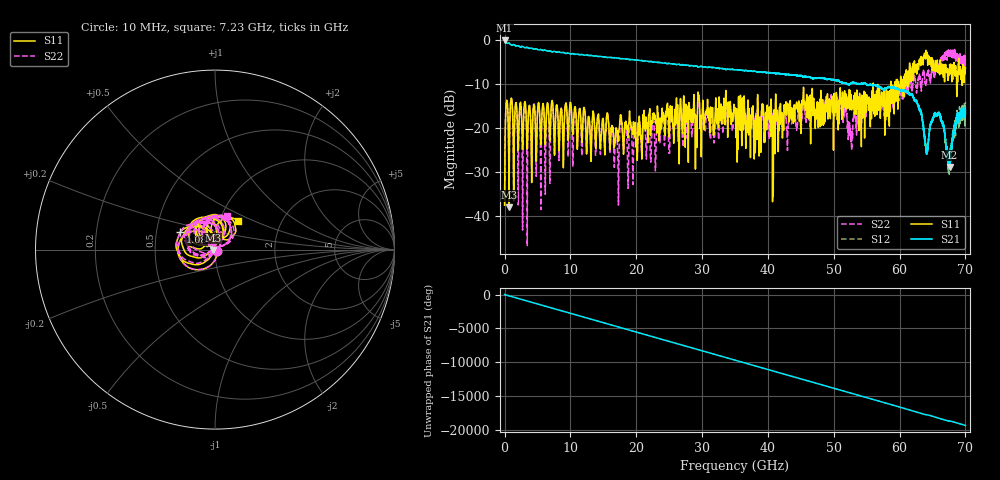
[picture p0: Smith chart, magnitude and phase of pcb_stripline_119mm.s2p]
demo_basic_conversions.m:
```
%% demo_basic_conversions.m  -- Parameter conversion demo for octave-rf
%%
%% Demonstrates S-parameter conversions on a real PCB stripline measurement.
%% Run from the octave-rf/examples/ directory:
%%
%%   cd octave-rf/examples
%%   octave-cli --no-gui -q demo_basic_conversions.m
%%
%% Requires: octave-rf package (inst/ directory on path) + fromtouchn.m
%%
%% Reference: Pupalaikis, P.J., "S-Parameters for Signal Integrity",
%%            Cambridge University Press, 2020. Chapters 3-4.

%% --- Setup paths -----------------------------------------------------------
this_dir = fileparts (mfilename ('fullpath'));
addpath (fullfile (this_dir, '..', 'inst'));   %% octave-rf functions
addpath (this_dir);                            %% fromtouchn.m

%% Suppress Octave compatibility warnings from legacy code in fromtouchn.m
warning ('off', 'all');

%% --- Load 2-port S-parameters ---------------------------------------------
printf ('Loading pcb_stripline_119mm.s2p (7000 frequency points, DC-35 GHz)...\n');
[freq, S, npts] = fromtouchn (fullfile (this_dir, 'pcb_stripline_119mm.s2p'));
printf ('  Loaded %d frequency points, %d-port\n', npts, size(S,1));

%% Wrap in sparameters object (optional — adds metadata)
z0 = 50;
s50 = sparameters (S, freq, z0);
printf ('  sparameters object: %d-port, Z0 = %g Ohm\n\n', size(s50.Parameters,1), z0);

%% --- T-matrix (wave-cascade matrix) ----------------------------------------
printf ('--- T-matrix (s2t / t2s) ---\n');
T = s2t (S);
S_rt = t2s (T);
err = max (abs (S_rt(:) - S(:)));
printf ('  Round-trip S -> T -> S:  max|diff| = %.2e\n\n', err);

%% --- Impedance parameters (Z) ----------------------------------------------
printf ('--- Z-parameters (s2z / z2s) ---\n');
Z = s2z (S);
printf ('  Z11 at 1 GHz:  %.3f + %.3fj Ohm\n', real(Z(1,1,100)), imag(Z(1,1,100)));
S_rt = z2s (Z);
err = max (abs (S_rt(:) - S(:)));
printf ('  Round-trip S -> Z -> S:  max|diff| = %.2e\n\n', err);

%% --- Admittance parameters (Y) ---------------------------------------------
printf ('--- Y-parameters (s2y / y2s) ---\n');
Y = s2y (S);
printf ('  Y11 at 1 GHz:  %.6f + %.6fj S\n', real(Y(1,1,100)), imag(Y(1,1,100)));
S_rt = y2s (Y);
err = max (abs (S_rt(:) - S(:)));
printf ('  Round-trip S -> Y -> S:  max|diff| = %.2e\n\n', err);

%% --- ABCD parameters -------------------------------------------------------
printf ('--- ABCD-parameters (s2abcd / abcd2s) ---\n');
A = s2abcd (S);
printf ('  A11 at 1 GHz:  %.6f + %.6fj\n', real(A(1,1,100)), imag(A(1,1,100)));
S_rt = abcd2s (A);
err = max (abs (S_rt(:) - S(:)));
printf ('  Round-trip S -> ABCD -> S:  max|diff| = %.2e\n\n', err);

%% --- H-parameters (hybrid) -------------------------------------------------
printf ('--- H-parameters (s2h / h2s) ---\n');
H = s2h (S);
S_rt = h2s (H);
err = max (abs (S_rt(:) - S(:)));
printf ('  Round-trip S -> H -> S:  max|diff| = %.2e\n\n', err);

%% --- G-parameters (inverse hybrid) ----------------------------------------
printf ('--- G-parameters (s2g / g2s) ---\n');
G = s2g (S);
S_rt = g2s (G);
err = max (abs (S_rt(:) - S(:)));
printf ('  Round-trip S -> G -> S:  max|diff| = %.2e\n', err);
printf ('  Note: G = inv(H); near resonances H is ill-conditioned,\n');
printf ('        so G vs reference may reach ~1e-10 -- this is expected.\n\n');

%% --- Renormalization -------------------------------------------------------
printf ('--- Renormalization (renormsparams) ---\n');
S75  = renormsparams (S, 75, 50);      %% renormalize to 75 Ohm
S_rt = renormsparams (S75, 50, 75);   %% back to 50 Ohm
err = max (abs (S_rt(:) - S(:)));
printf ('  50->75->50 Ohm round-trip:  max|diff| = %.2e\n', err);
printf ('  |S21| at 1 GHz:  50 Ohm = %.4f,  75 Ohm = %.4f\n\n', ...
        abs(S(2,1,100)), abs(S75(2,1,100)));

%% Also demonstrate sparameters Form 3 (renormalize via object)
s75 = sparameters (s50, 75);
printf ('  sparameters Form 3:  Z0 = 75 Ohm,  |S21| at 1 GHz = %.4f\n\n', ...
        abs(s75.Parameters(2,1,100)));

%% --- Port reordering -------------------------------------------------------
printf ('--- Port reordering (snp2smp) ---\n');
S_swapped  = snp2smp (S, [2 1]);   %% swap port 1 and port 2
S_restored = snp2smp (S_swapped, [2 1]);
err = max (abs (S_restored(:) - S(:)));
printf ('  Swap [2,1] then swap back:  max|diff| = %.2e  (pure permutation -- exact)\n\n', err);

printf ('Demo complete. All conversions demonstrated on real PCB data.\n');
printf ('Reference: Pupalaikis 2020, Chapters 3-4; Hall & Heck 2009, Chapters 3-4.\n');
```
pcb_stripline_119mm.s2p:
! 8/9/2025 3:00:00 PM
! This is a measured stripline on PCB, 119mm in length. Structure: VNA->COAX->stripline->COAX->VNA
! CHANNEL.1
! TR.MEASUREMENT
! CORRECTED.DATA
! RF.CORRECTION: FULL.FOUR.PORT.CAL.PORT.1.2.3.4
! AVERAGING.OFF
! IF.BANDWIDTH: 1KHZ
! SWEEPTYPE:  FREQ.SWEEP(Linear)
! Reference Plane Port Info
! PORT:  PORT1  PORT2
! DISTANCE:  0  m  0  m
! TIME:  0  s  0  s
! PHASE.OFFSET:  0  deg.  0  deg.
! LOSS:  0  dB  0  dB
! REF.LOSS:  0  dB  0  dB
! REF.FREQ:  0  Hz  0  Hz
! Power Info
! POWER:  -10  dBm  -10  dBm
! EFF.POWER:  -10  dBm  -10  dBm
! SOURCE.ATTEN:  0  dB  0  dB
! TEST.ATTEN:  0  dB  0  dB
! PORTZ: Port1:50 Port2:50
# GHZ S RI R 50
! FREQ.GHZ  S11RE  S11IM  S21RE  S21IM  S12RE  S12IM  S22RE  S22IM
!; PortSelection: Port_12 (1-->1,2-->2)
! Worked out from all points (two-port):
!   7000 points, 10 MHz to 70 GHz, reference 50 ohm
!   highest |S21| = -0.11 dB at 10 MHz (marker M1); lowest = -28.8 dB at 67.6 GHz (marker M2)
!   |S21| within 3 dB of the highest: start of sweep to 9.89 GHz; 10.23 GHz to 10.43 GHz (207.6 MHz wide, 2.01 % of centre)
!   lowest |S11| = -38.0 dB at 680 MHz (marker M3), VSWR 1.03, Z = 48.8 - j0.21 ohm
!   |S11| at or under -10 dB: start of sweep to 55.97 GHz; 56 GHz to 58.66 GHz (2.66 GHz wide, 4.64 % of centre); 58.7 GHz to 59.26 GHz (559.6 MHz wide, 0.949 % of centre)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
!   |S22| runs from -46.8 to -2.2 dB; largest |S21 - S12| = 0.078
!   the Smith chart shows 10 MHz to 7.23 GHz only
!   S11 on the Smith chart (normalised r, x): 10 MHz: 1.02, -0.01; 1.08 GHz: 0.67, +0.14; 7.23 GHz: 1.23, +0.41
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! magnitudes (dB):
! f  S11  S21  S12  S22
! 10 MHz  -37.5  -0.1  -0.1  -35.8
! 680 MHz  -38.0  -0.7  -0.7  -37.2
! 1.08 GHz  -13.3  -1.2  -1.2  -13.4
! 7.23 GHz  -13.8  -2.7  -2.7  -14.0
! 35.01 GHz  -16.4  -6.8  -6.8  -15.5
! 52.53 GHz  -12.3  -9.9  -10.0  -19.9
! 61.67 GHz  -6.0  -12.4  -12.5  -9.6
! 64.1 GHz  -3.8  -25.3  -25.1  -9.4
! 65.88 GHz  -5.8  -17.0  -17.0  -5.9
! 67.6 GHz  -6.1  -28.8  -27.8  -3.4
! 70 GHz  -6.4  -16.8  -14.2  -4.4
